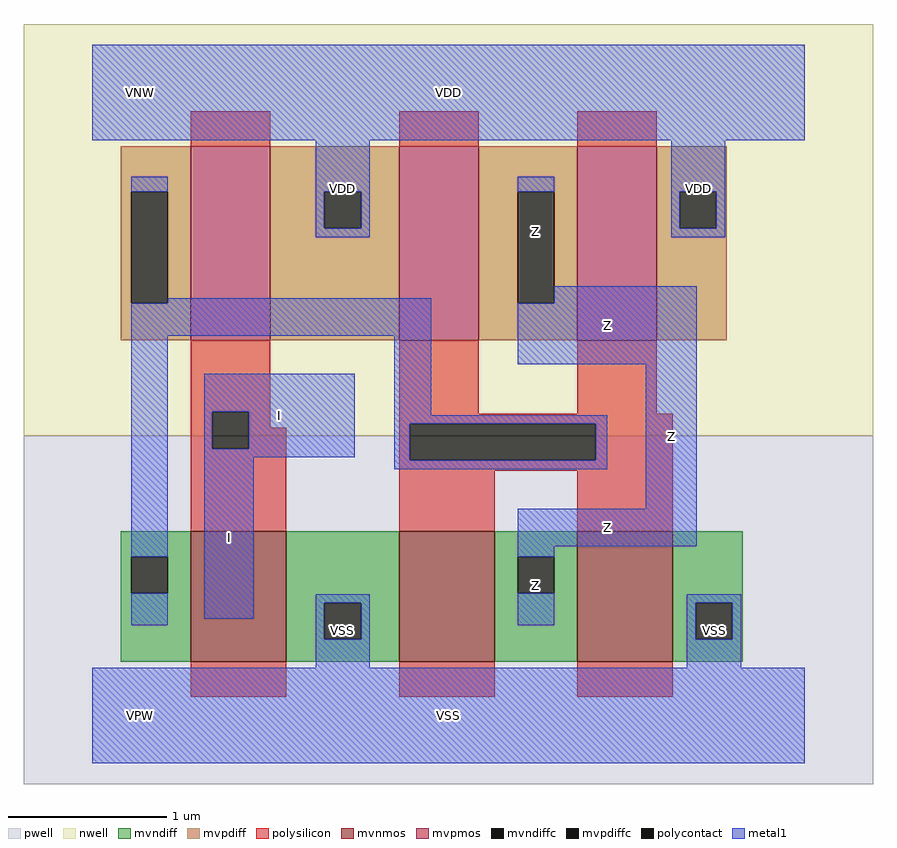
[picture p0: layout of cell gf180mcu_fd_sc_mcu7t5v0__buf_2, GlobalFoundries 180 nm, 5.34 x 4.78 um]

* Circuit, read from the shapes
.subckt gf180mcu_fd_sc_mcu7t5v0__buf_2 I Z VDD VNW VPW VSS
XM1 VSS I n1 VPW nfet_06v0 w=0.82u l=0.6u
XM2 Z n1 VSS VPW nfet_06v0 w=0.82u l=0.6u m=2
XM3 VDD I n1 VNW pfet_06v0 w=1.22u l=0.5u
XM4 Z n1 VDD VNW pfet_06v0 w=1.22u l=0.5u m=2
.ends

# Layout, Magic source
magic
tech gf180mcuD
magscale 1 10
<< nwell >>
rect -86 352 982 870
<< pwell >>
rect -86 -86 982 352
<< mvnmos >>
rect 124 68 244 232
rect 386 68 506 232
rect 610 68 730 232
<< mvpmos >>
rect 124 472 224 716
rect 386 472 486 716
rect 610 472 710 716
<< mvndiff >>
rect 36 200 124 232
rect 36 154 49 200
rect 95 154 124 200
rect 36 68 124 154
rect 244 142 386 232
rect 244 96 292 142
rect 338 96 386 142
rect 244 68 386 96
rect 506 200 610 232
rect 506 154 535 200
rect 581 154 610 200
rect 506 68 610 154
rect 730 142 818 232
rect 730 96 759 142
rect 805 96 818 142
rect 730 68 818 96
<< mvpdiff >>
rect 36 659 124 716
rect 36 519 49 659
rect 95 519 124 659
rect 36 472 124 519
rect 224 659 386 716
rect 224 613 292 659
rect 338 613 386 659
rect 224 472 386 613
rect 486 659 610 716
rect 486 519 535 659
rect 581 519 610 659
rect 486 472 610 519
rect 710 659 798 716
rect 710 613 739 659
rect 785 613 798 659
rect 710 472 798 613
<< mvndiffc >>
rect 49 154 95 200
rect 292 96 338 142
rect 535 154 581 200
rect 759 96 805 142
<< mvpdiffc >>
rect 49 519 95 659
rect 292 613 338 659
rect 535 519 581 659
rect 739 613 785 659
<< polysilicon >>
rect 124 716 224 760
rect 386 716 486 760
rect 610 716 710 760
rect 124 382 224 472
rect 124 336 151 382
rect 197 362 224 382
rect 386 380 486 472
rect 610 380 710 472
rect 386 367 730 380
rect 197 336 244 362
rect 124 232 244 336
rect 386 321 399 367
rect 633 321 730 367
rect 386 308 730 321
rect 386 232 506 308
rect 610 232 730 308
rect 124 24 244 68
rect 386 24 506 68
rect 610 24 730 68
<< polycontact >>
rect 151 336 197 382
rect 399 321 633 367
<< metal1 >>
rect 0 724 896 844
rect 49 659 95 678
rect 281 659 349 724
rect 281 613 292 659
rect 338 613 349 659
rect 281 602 349 613
rect 535 659 581 678
rect 95 519 426 525
rect 49 478 426 519
rect 49 200 95 478
rect 49 114 95 154
rect 141 382 330 430
rect 141 336 151 382
rect 197 336 330 382
rect 141 325 330 336
rect 380 378 426 478
rect 728 659 796 724
rect 728 613 739 659
rect 785 613 796 659
rect 728 602 796 613
rect 581 519 760 540
rect 535 442 760 519
rect 380 367 648 378
rect 141 122 203 325
rect 380 321 399 367
rect 633 321 648 367
rect 380 310 648 321
rect 696 260 760 442
rect 535 213 760 260
rect 535 200 581 213
rect 281 142 349 153
rect 281 96 292 142
rect 338 96 349 142
rect 535 114 581 154
rect 748 142 816 153
rect 281 60 349 96
rect 748 96 759 142
rect 805 96 816 142
rect 748 60 816 96
rect 0 -60 896 60
<< labels >>
flabel metal1 s 748 60 816 153 0 FreeSans 400 0 0 0 VSS
port 6 nsew ground bidirectional abutment
flabel metal1 s 535 540 581 678 0 FreeSans 400 0 0 0 Z
port 2 nsew default output
flabel metal1 s 141 325 330 430 0 FreeSans 400 0 0 0 I
port 1 nsew default input
flabel metal1 s 0 724 896 844 0 FreeSans 400 0 0 0 VDD
port 3 nsew power bidirectional abutment
flabel nwell s 10 734 110 834 0 FreeSans 400 0 0 0 VNW
port 4 nsew power bidirectional
flabel pwell s 10 -50 110 50 0 FreeSans 400 0 0 0 VPW
port 5 nsew ground bidirectional
rlabel metal1 s 141 122 203 325 1 I
port 1 nsew default input
rlabel metal1 s 535 442 760 540 1 Z
port 2 nsew default output
rlabel metal1 s 696 260 760 442 1 Z
port 2 nsew default output
rlabel metal1 s 535 213 760 260 1 Z
port 2 nsew default output
rlabel metal1 s 535 114 581 213 1 Z
port 2 nsew default output
rlabel metal1 s 728 602 796 724 1 VDD
port 3 nsew power bidirectional abutment
rlabel metal1 s 281 602 349 724 1 VDD
port 3 nsew power bidirectional abutment
rlabel metal1 s 281 60 349 153 1 VSS
port 6 nsew ground bidirectional abutment
rlabel metal1 s 0 -60 896 60 1 VSS
port 6 nsew ground bidirectional abutment
<< properties >>
string FIXED_BBOX 0 0 896 784
string GDS_END 1336206
string GDS_FILE $PDKPATH/libs.ref/gf180mcu_fd_sc_mcu7t5v0/gds/gf180mcu_fd_sc_mcu7t5v0.gds
string GDS_START 1333210
string LEFclass core
string LEFsite GF018hv5v_mcu_sc7
string LEFsymmetry X Y
<< end >>
